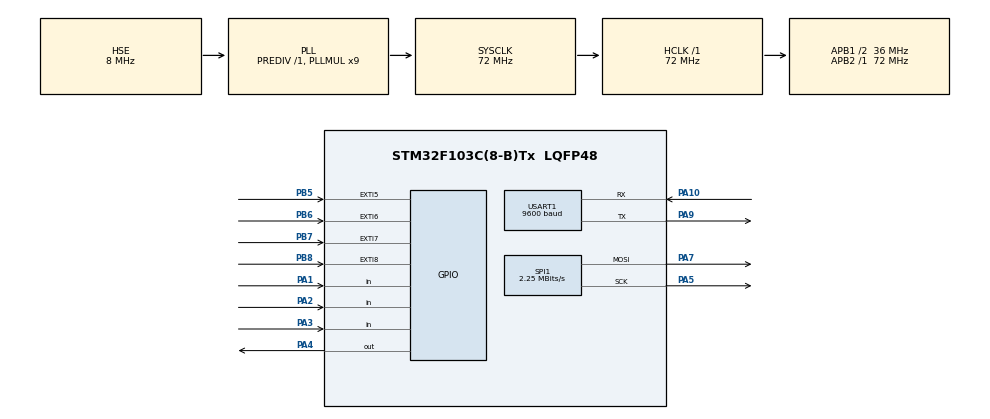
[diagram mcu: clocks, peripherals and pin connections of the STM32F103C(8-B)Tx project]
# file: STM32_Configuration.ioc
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Mcu.Family=STM32F1
Mcu.Name=STM32F103C(8-B)Tx
Mcu.Package=LQFP48
NVIC.EXTI9_5_IRQn=true\:0\:0\:false\:false\:true\:true\:true
NVIC.PriorityGroup=NVIC_PRIORITYGROUP_4
NVIC.SPI1_IRQn=true\:0\:0\:false\:false\:true\:true\:true
NVIC.TIM1_UP_IRQn=true\:0\:0\:false\:false\:true\:true\:true
NVIC.USART1_IRQn=true\:0\:0\:false\:false\:true\:true\:true
PA1.GPIO_PuPd=GPIO_PULLUP
PA1.Signal=GPIO_Input
PA10.Mode=Asynchronous
PA10.Signal=USART1_RX
PA13.Mode=Serial_Wire
PA13.Signal=SYS_JTMS-SWDIO
PA14.Mode=Serial_Wire
PA14.Signal=SYS_JTCK-SWCLK
PA2.GPIO_PuPd=GPIO_PULLDOWN
PA2.Signal=GPIO_Input
PA3.GPIO_PuPd=GPIO_PULLDOWN
PA3.Signal=GPIO_Input
PA4.Signal=GPIO_Output
PA5.GPIO_Speed=GPIO_SPEED_FREQ_HIGH
PA5.Mode=TX_Only_Simplex_Unidirect_Master
PA5.Signal=SPI1_SCK
PA7.GPIO_Speed=GPIO_SPEED_FREQ_HIGH
PA7.Mode=TX_Only_Simplex_Unidirect_Master
PA7.Signal=SPI1_MOSI
PA9.Mode=Asynchronous
PA9.Signal=USART1_TX
PB5.GPIO_ModeDefaultEXTI=GPIO_MODE_IT_FALLING
PB5.GPIO_PuPd=GPIO_PULLUP
PB5.Signal=GPXTI5
PB6.GPIO_ModeDefaultEXTI=GPIO_MODE_IT_FALLING
PB6.GPIO_PuPd=GPIO_PULLUP
PB6.Signal=GPXTI6
PB7.GPIO_ModeDefaultEXTI=GPIO_MODE_IT_FALLING
PB7.GPIO_PuPd=GPIO_PULLUP
PB7.Signal=GPXTI7
PB8.GPIO_ModeDefaultEXTI=GPIO_MODE_IT_FALLING
PB8.GPIO_PuPd=GPIO_PULLUP
PB8.Signal=GPXTI8
PD0-OSC_IN.Mode=HSE-External-Oscillator
PD0-OSC_IN.Signal=RCC_OSC_IN
PD1-OSC_OUT.Mode=HSE-External-Oscillator
PD1-OSC_OUT.Signal=RCC_OSC_OUT
ProjectManager.HeapSize=0x200
ProjectManager.StackSize=0x400
ProjectManager.TargetToolchain=TrueSTUDIO
RCC.AHBFreq_Value=72000000
RCC.APB1CLKDivider=RCC_HCLK_DIV2
RCC.APB1Freq_Value=36000000
RCC.APB1TimFreq_Value=72000000
RCC.APB2Freq_Value=72000000
RCC.APB2TimFreq_Value=72000000
RCC.HCLKFreq_Value=72000000
RCC.PLLMUL=RCC_PLL_MUL9
RCC.PLLSourceVirtual=RCC_PLLSOURCE_HSE
RCC.SYSCLKFreq_VALUE=72000000
RCC.SYSCLKSource=RCC_SYSCLKSOURCE_PLLCLK
RCC.USBFreq_Value=72000000
SPI1.BaudRatePrescaler=SPI_BAUDRATEPRESCALER_32
SPI1.CalculateBaudRate=2.25 MBits/s
SPI1.Direction=SPI_DIRECTION_2LINES
SPI1.Mode=SPI_MODE_MASTER
SPI1.VirtualType=VM_MASTER
TIM1.Period=100
TIM1.Prescaler=719
USART1.BaudRate=9600
USART1.VirtualMode=VM_ASYNC
VP_TIM1_VS_ClockSourceINT.Mode=Internal
board=custom

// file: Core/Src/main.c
/* USER CODE BEGIN Header */
/**
  ******************************************************************************
  * @file           : main.c
  * @brief          : Main program body
  ******************************************************************************
  * @attention
  *
  * <h2><center>&copy; Copyright (c) 2023 STMicroelectronics.
  * All rights reserved.</center></h2>
  *
  * This software component is licensed by ST under BSD 3-Clause license,
  * the "License"; You may not use this file except in compliance with the
  * License. You may obtain a copy of the License at:
  *                        opensource.org/licenses/BSD-3-Clause
  *
  ******************************************************************************
  */
/* USER CODE END Header */
#include "main.h"

/* USER CODE BEGIN Includes */
#include "digits.h"
#include <stdio.h>
/* USER CODE END Includes */

/* USER CODE BEGIN PD */
#define debounse_time	100
#define short_beep		100
#define long_beep		1000
/* USER CODE END PD */

SPI_HandleTypeDef hspi1;

TIM_HandleTypeDef htim1;

UART_HandleTypeDef huart1;

/* USER CODE BEGIN PV */
uint16_t millis = 0;
uint16_t cool_down_millis = 0;
uint16_t beep_millis = 0;
uint8_t led_state = 0;
uint8_t spi_data[2]; //0 - index, 1 - value
uint16_t initial_seconds = 0;
uint16_t current_seconds = 0;
uint8_t armed = 0;
uint8_t str[4];
/* USER CODE END PV */

void SystemClock_Config(void);
static void MX_GPIO_Init(void);
static void MX_SPI1_Init(void);
static void MX_TIM1_Init(void);
static void MX_USART1_UART_Init(void);
/* USER CODE BEGIN PFP */
void One_Second_Tick(void);
uint8_t Seconds_Step(uint16_t value);
void Set_Digit_Value(uint8_t digit);
void Set_Digit_Index_And_Sound(uint8_t index, uint16_t beep);
void Transmit_SPI(void);
void Display_Data(uint8_t digit_0, uint8_t digit_1, uint8_t digit_2, uint8_t digit_3, uint16_t beep);
void Output_Time_And_Sound(uint16_t seconds, uint16_t beep);
void Send_Time_Uart(uint16_t seconds);
/* USER CODE END PFP */

int main(void)
{

  /* MCU Configuration--------------------------------------------------------*/

  /* Reset of all peripherals, Initializes the Flash interface and the Systick. */
  HAL_Init();

  /* Configure the system clock */
  SystemClock_Config();

  /* Initialize all configured peripherals */
  MX_GPIO_Init();
  MX_SPI1_Init();
  MX_TIM1_Init();
  MX_USART1_UART_Init();
  /* USER CODE BEGIN 2 */

  USART1->DR = 0x3E; //Start MCU debug signal
  HAL_TIM_Base_Start_IT(&htim1); // start timer

  beep_millis = short_beep; //Start sound

  /* USER CODE END 2 */

  /* Infinite loop */
  /* USER CODE BEGIN WHILE */
  while (1)
  {
	  Output_Time_And_Sound(current_seconds, beep_millis);

    /* USER CODE END WHILE */

  }
}

void SystemClock_Config(void)
{
  RCC_OscInitTypeDef RCC_OscInitStruct = {0};
  RCC_ClkInitTypeDef RCC_ClkInitStruct = {0};

  /** Initializes the RCC Oscillators according to the specified parameters
  * in the RCC_OscInitTypeDef structure.
  */
  RCC_OscInitStruct.OscillatorType = RCC_OSCILLATORTYPE_HSE;
  RCC_OscInitStruct.HSEState = RCC_HSE_ON;
  RCC_OscInitStruct.HSEPredivValue = RCC_HSE_PREDIV_DIV1;
  RCC_OscInitStruct.HSIState = RCC_HSI_ON;
  RCC_OscInitStruct.PLL.PLLState = RCC_PLL_ON;
  RCC_OscInitStruct.PLL.PLLSource = RCC_PLLSOURCE_HSE;
  RCC_OscInitStruct.PLL.PLLMUL = RCC_PLL_MUL9;
  if (HAL_RCC_OscConfig(&RCC_OscInitStruct) != HAL_OK)
  {
    Error_Handler();
  }
  /** Initializes the CPU, AHB and APB buses clocks
  */
  RCC_ClkInitStruct.ClockType = RCC_CLOCKTYPE_HCLK|RCC_CLOCKTYPE_SYSCLK
                              |RCC_CLOCKTYPE_PCLK1|RCC_CLOCKTYPE_PCLK2;
  RCC_ClkInitStruct.SYSCLKSource = RCC_SYSCLKSOURCE_PLLCLK;
  RCC_ClkInitStruct.AHBCLKDivider = RCC_SYSCLK_DIV1;
  RCC_ClkInitStruct.APB1CLKDivider = RCC_HCLK_DIV2;
  RCC_ClkInitStruct.APB2CLKDivider = RCC_HCLK_DIV1;

  if (HAL_RCC_ClockConfig(&RCC_ClkInitStruct, FLASH_LATENCY_2) != HAL_OK)
  {
    Error_Handler();
  }
}

static void MX_SPI1_Init(void)
{

  /* SPI1 parameter configuration*/
  hspi1.Instance = SPI1;
  hspi1.Init.Mode = SPI_MODE_MASTER;
  hspi1.Init.Direction = SPI_DIRECTION_2LINES;
  hspi1.Init.DataSize = SPI_DATASIZE_8BIT;
  hspi1.Init.CLKPolarity = SPI_POLARITY_LOW;
  hspi1.Init.CLKPhase = SPI_PHASE_1EDGE;
  hspi1.Init.NSS = SPI_NSS_SOFT;
  hspi1.Init.BaudRatePrescaler = SPI_BAUDRATEPRESCALER_32;
  hspi1.Init.FirstBit = SPI_FIRSTBIT_MSB;
  hspi1.Init.TIMode = SPI_TIMODE_DISABLE;
  hspi1.Init.CRCCalculation = SPI_CRCCALCULATION_DISABLE;
  hspi1.Init.CRCPolynomial = 10;
  if (HAL_SPI_Init(&hspi1) != HAL_OK)
  {
    Error_Handler();
  }

}

static void MX_TIM1_Init(void)
{

  TIM_ClockConfigTypeDef sClockSourceConfig = {0};
  TIM_MasterConfigTypeDef sMasterConfig = {0};

  htim1.Instance = TIM1;
  htim1.Init.Prescaler = 719;
  htim1.Init.CounterMode = TIM_COUNTERMODE_UP;
  htim1.Init.Period = 100;
  htim1.Init.ClockDivision = TIM_CLOCKDIVISION_DIV1;
  htim1.Init.RepetitionCounter = 0;
  htim1.Init.AutoReloadPreload = TIM_AUTORELOAD_PRELOAD_DISABLE;
  if (HAL_TIM_Base_Init(&htim1) != HAL_OK)
  {
    Error_Handler();
  }
  sClockSourceConfig.ClockSource = TIM_CLOCKSOURCE_INTERNAL;
  if (HAL_TIM_ConfigClockSource(&htim1, &sClockSourceConfig) != HAL_OK)
  {
    Error_Handler();
  }
  sMasterConfig.MasterOutputTrigger = TIM_TRGO_RESET;
  sMasterConfig.MasterSlaveMode = TIM_MASTERSLAVEMODE_DISABLE;
  if (HAL_TIMEx_MasterConfigSynchronization(&htim1, &sMasterConfig) != HAL_OK)
  {
    Error_Handler();
  }

}

static void MX_USART1_UART_Init(void)
{

  huart1.Instance = USART1;
  huart1.Init.BaudRate = 9600;
  huart1.Init.WordLength = UART_WORDLENGTH_8B;
  huart1.Init.StopBits = UART_STOPBITS_1;
  huart1.Init.Parity = UART_PARITY_NONE;
  huart1.Init.Mode = UART_MODE_TX_RX;
  huart1.Init.HwFlowCtl = UART_HWCONTROL_NONE;
  huart1.Init.OverSampling = UART_OVERSAMPLING_16;
  if (HAL_UART_Init(&huart1) != HAL_OK)
  {
    Error_Handler();
  }

}

static void MX_GPIO_Init(void)
{
  GPIO_InitTypeDef GPIO_InitStruct = {0};

  /* GPIO Ports Clock Enable */
  __HAL_RCC_GPIOD_CLK_ENABLE();
  __HAL_RCC_GPIOA_CLK_ENABLE();
  __HAL_RCC_GPIOB_CLK_ENABLE();

  /*Configure GPIO pin Output Level */
  HAL_GPIO_WritePin(GPIOA, GPIO_PIN_4, GPIO_PIN_RESET);

  /*Configure GPIO pin : PA1 */
  GPIO_InitStruct.Pin = GPIO_PIN_1;
  GPIO_InitStruct.Mode = GPIO_MODE_INPUT;
  GPIO_InitStruct.Pull = GPIO_PULLUP;
  HAL_GPIO_Init(GPIOA, &GPIO_InitStruct);

  /*Configure GPIO pins : PA2 PA3 */
  GPIO_InitStruct.Pin = GPIO_PIN_2|GPIO_PIN_3;
  GPIO_InitStruct.Mode = GPIO_MODE_INPUT;
  GPIO_InitStruct.Pull = GPIO_PULLDOWN;
  HAL_GPIO_Init(GPIOA, &GPIO_InitStruct);

  /*Configure GPIO pin : PA4 */
  GPIO_InitStruct.Pin = GPIO_PIN_4;
  GPIO_InitStruct.Mode = GPIO_MODE_OUTPUT_PP;
  GPIO_InitStruct.Pull = GPIO_NOPULL;
  GPIO_InitStruct.Speed = GPIO_SPEED_FREQ_LOW;
  HAL_GPIO_Init(GPIOA, &GPIO_InitStruct);

  /*Configure GPIO pins : PB5 PB6 PB7 PB8 */
  GPIO_InitStruct.Pin = GPIO_PIN_5|GPIO_PIN_6|GPIO_PIN_7|GPIO_PIN_8;
  GPIO_InitStruct.Mode = GPIO_MODE_IT_FALLING;
  GPIO_InitStruct.Pull = GPIO_PULLUP;
  HAL_GPIO_Init(GPIOB, &GPIO_InitStruct);

  /* EXTI interrupt init*/
  HAL_NVIC_SetPriority(EXTI9_5_IRQn, 0, 0);
  HAL_NVIC_EnableIRQ(EXTI9_5_IRQn);

}

/* USER CODE BEGIN 4 */

//Process timer interrupts
void HAL_TIM_PeriodElapsedCallback(TIM_HandleTypeDef *htim){

	if(htim == &htim1){ //Check if it's TIM1
		millis++;
		if (millis == 1000){
			millis = 0;
			One_Second_Tick();
		}

		if(cool_down_millis > 0)
			cool_down_millis--;

		if(beep_millis > 0)
			beep_millis--;
	}
}

//Ticks once per second
void One_Second_Tick(void){

	//USART1->DR = 0x2E; //Send char '.' to UART (to test that UART and timer work)

	if (armed == 1){
		current_seconds--;
		Send_Time_Uart(current_seconds);
		if (current_seconds == 0){
			armed = 0;
			USART1->DR = 0x45; //E
			if(HAL_GPIO_ReadPin(GPIOA, GPIO_PIN_2) == GPIO_PIN_SET)		//Long beep in the end
			{
				USART1->DR = 0x4C; //L
				beep_millis = long_beep;
			}
			else														//Short beep in the end
			{
				USART1->DR = 0x53; //S
				beep_millis = short_beep;
			}

		}
		else if (current_seconds <= 5 && HAL_GPIO_ReadPin(GPIOA, GPIO_PIN_3) == GPIO_PIN_SET){
			beep_millis = short_beep;									//Warning beep if <= 5 seconds
		}
	}
}

//Process buttons interrupts
void HAL_GPIO_EXTI_Callback(uint16_t GPIO_Pin)
{
	if (cool_down_millis == 0)
	{
		cool_down_millis = debounse_time;

		if(GPIO_Pin == GPIO_PIN_5) // Play/pause button
		{
			USART1->DR = 0x50; //Debug signal
			cool_down_millis += debounse_time; //Additional cooldown
			beep_millis = short_beep;
			if (armed == 0 && current_seconds > 0){
				armed = 1;
				millis = 0; //To make first second to pass after 1 second after button push
			}
			else if (armed == 1){
				armed = 0;
			}
		}

		if(GPIO_Pin == GPIO_PIN_6) // Stop button
		{
			USART1->DR = 0x53; //Debug signal
			cool_down_millis += debounse_time; //Additional cooldown
			beep_millis = short_beep;
			current_seconds = initial_seconds;
			armed = 0;
		}

		if(GPIO_Pin == GPIO_PIN_7 && armed == 0) // Rotary encoder +/-
		{
			if(HAL_GPIO_ReadPin(GPIOA, GPIO_PIN_1) == GPIO_PIN_SET) {
				//USART1->DR = 0x2B; //Debug signal
				current_seconds += Seconds_Step(current_seconds);
			}
			else {
				//USART1->DR = 0x2D; //Debug signal
				if (current_seconds <= 5){
					current_seconds = 0;
				}
				else{
					current_seconds -= Seconds_Step(current_seconds-1);
				}

			}

			if(current_seconds < 0) current_seconds = 0;

			initial_seconds = current_seconds;

			Send_Time_Uart(current_seconds);
		}

		if(GPIO_Pin == GPIO_PIN_8 && armed == 0) // Encoder press
		{
			USART1->DR = 0x30; //Debug signal
			cool_down_millis += debounse_time; //Additional cooldown
			beep_millis = short_beep;
			initial_seconds = 0;
			current_seconds = 0;
		}
	}
}

uint8_t Seconds_Step(uint16_t value){
  if (value < 0) return 0; //To prevent negative values
  if (value < 30) return 5;
  if (value < 120) return 10;
  if (value < 300) return 30;
  return 60;
}

void Set_Digit_Value(uint8_t digit){
	switch (digit){
	case 0: spi_data[1] = DIGIT_0;	break;
	case 1: spi_data[1] = DIGIT_1;	break;
	case 2: spi_data[1] = DIGIT_2;	break;
	case 3: spi_data[1] = DIGIT_3;	break;
	case 4: spi_data[1] = DIGIT_4;	break;
	case 5: spi_data[1] = DIGIT_5;	break;
	case 6: spi_data[1] = DIGIT_6;	break;
	case 7: spi_data[1] = DIGIT_7;	break;
	case 8: spi_data[1] = DIGIT_8;	break;
	case 9: spi_data[1] = DIGIT_9;	break;
	default: spi_data[1] = 0x00; break;
	}
}

void Set_Digit_Index_And_Sound(uint8_t index, uint16_t beep){
	switch (index){
	case 0: spi_data[0] = SHOW_0;	break;
	case 1: spi_data[0] = SHOW_1;	break;
	case 2: spi_data[0] = SHOW_2;	break;
	case 3: spi_data[0] = SHOW_3;	break;
	default: spi_data[0] = 0x00; break;
	}

	if (beep > 0){
		spi_data[0] |= 0x80; //Beeper on
	}
}

void Transmit_SPI(void){
	HAL_GPIO_WritePin(GPIOA, GPIO_PIN_4, GPIO_PIN_RESET);
	HAL_SPI_Transmit_IT(&hspi1, spi_data, 2);
	HAL_GPIO_WritePin(GPIOA, GPIO_PIN_4, GPIO_PIN_SET);
}

void Display_Data(uint8_t digit_0, uint8_t digit_1, uint8_t digit_2, uint8_t digit_3, uint16_t beep){

	Set_Digit_Value(digit_0);
	Set_Digit_Index_And_Sound(0, beep);
	Transmit_SPI();

	Set_Digit_Value(digit_1);
	Set_Digit_Index_And_Sound(1, beep);
	spi_data[1] |= 0x80; //Display dots
	Transmit_SPI();

	Set_Digit_Value(digit_2);
	Set_Digit_Index_And_Sound(2, beep);
	Transmit_SPI();

	Set_Digit_Value(digit_3);
	Set_Digit_Index_And_Sound(3, beep);
	Transmit_SPI();

}

void Output_Time_And_Sound(uint16_t seconds, uint16_t beep){

	uint8_t minutesToDisplay = seconds / 60;
	uint8_t secondsToDisplay = seconds % 60;

	uint8_t digit0 = minutesToDisplay / 10;
	uint8_t digit1 = minutesToDisplay % 10;
	uint8_t digit2 = secondsToDisplay / 10;
	uint8_t digit3 = secondsToDisplay % 10;

	Display_Data(digit0, digit1, digit2, digit3, beep);
}

void Send_Time_Uart(uint16_t seconds){
	sprintf(&str, "%4d", seconds);
	HAL_UART_Transmit_IT(&huart1, str, 4);
}

/* USER CODE END 4 */

void Error_Handler(void)
{
  __disable_irq();
  while (1)
  {
  }
}

/************************ (C) COPYRIGHT STMicroelectronics *****END OF FILE****/
